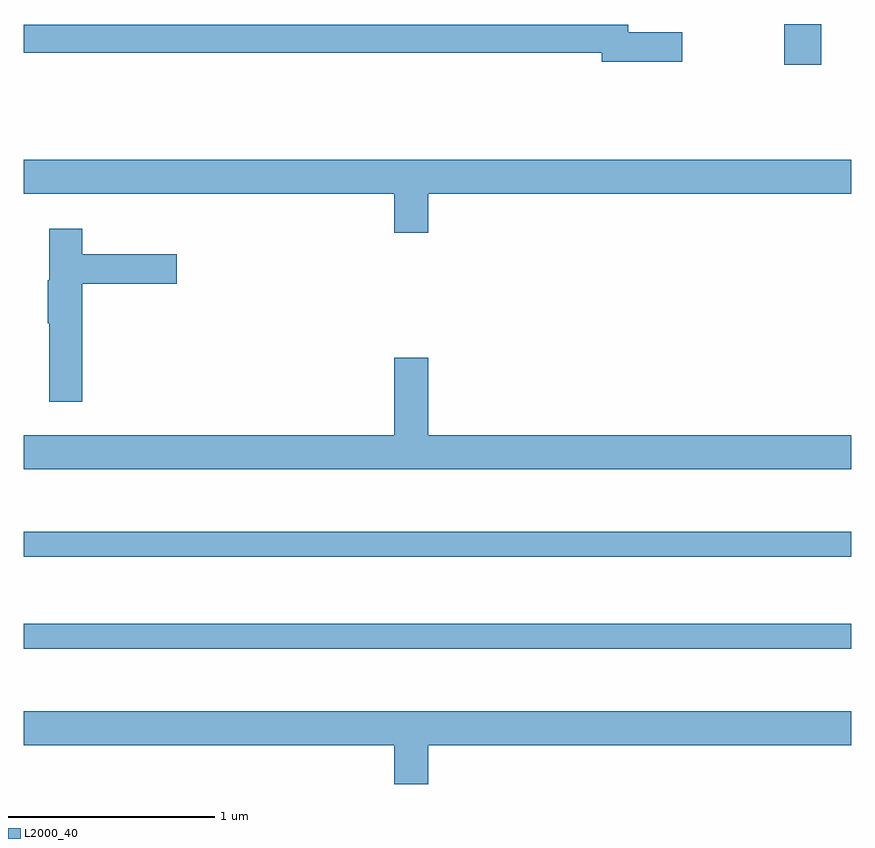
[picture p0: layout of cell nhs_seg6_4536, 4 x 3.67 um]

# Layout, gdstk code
import gdstk
lib = gdstk.Library(unit=1e-6, precision=1e-09)
def R(c, l, rs):  # rectangles x0, y0, x1, y1
    for r in rs: c.add(gdstk.rectangle(r[:2], r[2:], *l))
def P(c, l, *ps):  # polygons
    for p in ps: c.add(gdstk.Polygon(p, *l))
L2000_40 = (2000, 40)

nhs_seg6_4536 = lib.new_cell('nhs_seg6_4536')
R(nhs_seg6_4536, L2000_40, [(379,934.482,383,934.603), (379,934.926,383,935.047), (382.675,937.302,382.853,937.5)])
P(nhs_seg6_4536, L2000_40, [(382.183,937.46),(381.922,937.46),(381.922,937.496),(379,937.496),(379,937.36),(381.794,937.36),(381.794,937.318),(382.183,937.318)],
  [(380.956,936.68),(383,936.68),(383,936.844),(379,936.844),(379,936.68),(380.792,936.68),(380.792,936.492),(380.956,936.492)],
  [(379.283,936.245),(379.741,936.245),(379.741,936.387),(379.283,936.387),(379.283,936.511),(379.124,936.511),(379.124,936.261),(379.117,936.261),(379.117,936.055),(379.124,936.055),(379.124,935.676),(379.283,935.676)],
  [(383,935.512),(380.956,935.512),(380.956,935.887),(380.792,935.887),(380.792,935.512),(379,935.512),(379,935.348),(383,935.348)],
  [(380.956,934.016),(383,934.016),(383,934.18),(379,934.18),(379,934.016),(380.792,934.016),(380.792,933.828),(380.956,933.828)])

lib.write_gds('nhs_seg6_4536.gds')
